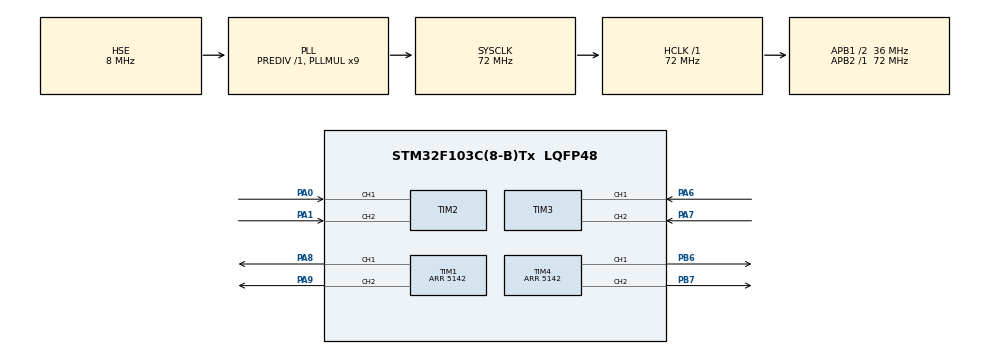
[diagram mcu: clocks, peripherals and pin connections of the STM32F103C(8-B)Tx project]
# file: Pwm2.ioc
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Mcu.Family=STM32F1
Mcu.Name=STM32F103C(8-B)Tx
Mcu.Package=LQFP48
NVIC.PriorityGroup=NVIC_PRIORITYGROUP_4
NVIC.TIM2_IRQn=true\:0\:0\:false\:false\:true\:true\:true\:true
NVIC.TIM3_IRQn=true\:0\:0\:false\:false\:true\:true\:true\:true
PA0-WKUP.Signal=S_TIM2_CH1_ETR
PA1.Signal=S_TIM2_CH2
PA6.Signal=S_TIM3_CH1
PA7.Signal=S_TIM3_CH2
PA8.Signal=S_TIM1_CH1
PA9.Signal=S_TIM1_CH2
PB6.Signal=S_TIM4_CH1
PB7.Signal=S_TIM4_CH2
PD0-OSC_IN.Mode=HSE-External-Clock-Source
PD0-OSC_IN.Signal=RCC_OSC_IN
PD1-OSC_OUT.Mode=HSE-External-Clock-Source
PD1-OSC_OUT.Signal=RCC_OSC_OUT
ProjectManager.HeapSize=0x200
ProjectManager.StackSize=0x400
ProjectManager.TargetToolchain=STM32CubeIDE
RCC.AHBFreq_Value=72000000
RCC.APB1CLKDivider=RCC_HCLK_DIV2
RCC.APB1Freq_Value=36000000
RCC.APB1TimFreq_Value=72000000
RCC.APB2Freq_Value=72000000
RCC.APB2TimFreq_Value=72000000
RCC.HCLKFreq_Value=72000000
RCC.PLLMUL=RCC_PLL_MUL9
RCC.PLLSourceVirtual=RCC_PLLSOURCE_HSE
RCC.SYSCLKFreq_VALUE=72000000
RCC.SYSCLKSource=RCC_SYSCLKSOURCE_PLLCLK
RCC.USBFreq_Value=72000000
SH.S_TIM1_CH1.0=TIM1_CH1,PWM Generation1 CH1
SH.S_TIM1_CH2.0=TIM1_CH2,PWM Generation2 CH2
SH.S_TIM2_CH1_ETR.0=TIM2_CH1,Encoder_Interface
SH.S_TIM2_CH2.0=TIM2_CH2,Encoder_Interface
SH.S_TIM3_CH1.0=TIM3_CH1,Encoder_Interface
SH.S_TIM3_CH2.0=TIM3_CH2,Encoder_Interface
SH.S_TIM4_CH1.0=TIM4_CH1,PWM Generation1 CH1
SH.S_TIM4_CH2.0=TIM4_CH2,PWM Generation2 CH2
TIM1.Channel-PWM\ Generation1\ CH1=TIM_CHANNEL_1
TIM1.Channel-PWM\ Generation2\ CH2=TIM_CHANNEL_2
TIM1.Period=5142
TIM2.EncoderMode=TIM_ENCODERMODE_TI12
TIM3.EncoderMode=TIM_ENCODERMODE_TI12
TIM4.Channel-PWM\ Generation1\ CH1=TIM_CHANNEL_1
TIM4.Channel-PWM\ Generation2\ CH2=TIM_CHANNEL_2
TIM4.Period=5142
VP_SYS_VS_ND.Mode=No_Debug
VP_TIM1_VS_ClockSourceINT.Mode=Internal
board=custom

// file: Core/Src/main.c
/* USER CODE BEGIN Header */
/**
  ******************************************************************************
  * @file           : main.c
  * @brief          : Main program body
  ******************************************************************************
  * @attention
  *
  * Copyright (c) 2024 STMicroelectronics.
  * All rights reserved.
  *
  * This software is licensed under terms that can be found in the LICENSE file
  * in the root directory of this software component.
  * If no LICENSE file comes with this software, it is provided AS-IS.
  *
  ******************************************************************************
  */
/* USER CODE END Header */
#include "main.h"
#include "tim.h"
#include "gpio.h"

/* USER CODE BEGIN Includes */
#include "error_state.h"
#include"std_types.h"
#include"map.h"
/* USER CODE END Includes */

/* USER CODE BEGIN PTD */
	typedef enum
	{
		Forward,
		Backward,
		Right,
		Left,
		Stop
	}Direction;
/* USER CODE END PTD */

/* USER CODE BEGIN PV */
	extern TIM_HandleTypeDef htim2;
	extern TIM_HandleTypeDef htim4;
	extern TIM_HandleTypeDef htim3;
	extern TIM_HandleTypeDef htim1;
	s32 __vo Glob_s32Encoder1TotalCount=0;
	s32 __vo Glob_s32Encoder2TotalCount=0;
	s32 __vo Glob_s32Motor1Speed=0;
	s32 __vo Glob_s32Motor2Speed=0;
	s32 __vo Glob_s32Encoder1LastPos=0;
	s32 __vo Glob_s32Encoder2LastPos=0;
/* USER CODE END PV */

void SystemClock_Config(void);
/* USER CODE BEGIN PFP */
ES_t enMotor_Move(Direction Copy_u8Direction,u8 speed)
	{
		ES_t Local_enErrState=ES_OK;
		speed=map(speed,0,100,0,5142);
		if(speed>5040)
		{
			speed=5040;
		}
		if(Forward==Copy_u8Direction)
		{
			__HAL_TIM_SET_COMPARE(&htim1, TIM_CHANNEL_1,speed);
			__HAL_TIM_SET_COMPARE(&htim4, TIM_CHANNEL_1,speed);
			HAL_TIM_PWM_Stop(&htim1, TIM_CHANNEL_2);
			HAL_TIM_PWM_Stop(&htim4, TIM_CHANNEL_2);
			HAL_TIM_PWM_Start(&htim1, TIM_CHANNEL_1);
			HAL_TIM_PWM_Start(&htim4, TIM_CHANNEL_1);
		}
		else if(Backward==Copy_u8Direction)
		{
			__HAL_TIM_SET_COMPARE(&htim1, TIM_CHANNEL_2,speed);
			__HAL_TIM_SET_COMPARE(&htim4, TIM_CHANNEL_2,speed);
			HAL_TIM_PWM_Stop(&htim1, TIM_CHANNEL_1);
			HAL_TIM_PWM_Stop(&htim4, TIM_CHANNEL_1);
			HAL_TIM_PWM_Start(&htim1, TIM_CHANNEL_2);
			HAL_TIM_PWM_Start(&htim4, TIM_CHANNEL_2);
		}
		else if(Right==Copy_u8Direction)
		{
			__HAL_TIM_SET_COMPARE(&htim4, TIM_CHANNEL_1,speed);
			__HAL_TIM_SET_COMPARE(&htim1, TIM_CHANNEL_2,speed);
			HAL_TIM_PWM_Stop(&htim1, TIM_CHANNEL_1);
			HAL_TIM_PWM_Stop(&htim4, TIM_CHANNEL_2);
			HAL_TIM_PWM_Start(&htim1, TIM_CHANNEL_2);
			HAL_TIM_PWM_Start(&htim4, TIM_CHANNEL_1);

		}
		else if(Left==Copy_u8Direction)
		{
			__HAL_TIM_SET_COMPARE(&htim4, TIM_CHANNEL_2,speed);
			__HAL_TIM_SET_COMPARE(&htim1, TIM_CHANNEL_1,speed);
			HAL_TIM_PWM_Stop(&htim1, TIM_CHANNEL_2);
			HAL_TIM_PWM_Stop(&htim4, TIM_CHANNEL_1);
			HAL_TIM_PWM_Start(&htim1, TIM_CHANNEL_1);
			HAL_TIM_PWM_Start(&htim4, TIM_CHANNEL_2);
		}
		else if(Stop==Copy_u8Direction)
		{
			HAL_TIM_PWM_Stop(&htim1, TIM_CHANNEL_1);
			HAL_TIM_PWM_Stop(&htim4, TIM_CHANNEL_1);
			HAL_TIM_PWM_Stop(&htim1, TIM_CHANNEL_2);
			HAL_TIM_PWM_Stop(&htim4, TIM_CHANNEL_2);
		}
		else
		{
			Local_enErrState=ES_NOT_OK;
		}
		return Local_enErrState;
	}

ES_t enGetMotorSpeed(s32* Ptr_s32Motor1Speed,s32* Ptr_s32Motor2Speed)
{
	*Ptr_s32Motor1Speed=Glob_s32Motor1Speed;
	*Ptr_s32Motor2Speed=Glob_s32Motor2Speed;
}

/* USER CODE END PFP */

int main(void)
{

  /* MCU Configuration--------------------------------------------------------*/

  /* Reset of all peripherals, Initializes the Flash interface and the Systick. */
  HAL_Init();

  /* Configure the system clock */
  SystemClock_Config();

  /* Initialize all configured peripherals */
  MX_GPIO_Init();
  MX_TIM1_Init();
  MX_TIM2_Init();
  MX_TIM3_Init();
  MX_TIM4_Init();
  /* USER CODE BEGIN 2 */
  HAL_TIM_Encoder_Start_IT(&htim2,TIM_CHANNEL_ALL);
  HAL_TIM_Encoder_Start_IT(&htim3,TIM_CHANNEL_ALL);
  /* USER CODE END 2 */

  /* Infinite loop */
  while (1)
  {

  }
}

void SystemClock_Config(void)
{
  RCC_OscInitTypeDef RCC_OscInitStruct = {0};
  RCC_ClkInitTypeDef RCC_ClkInitStruct = {0};

  /** Initializes the RCC Oscillators according to the specified parameters
  * in the RCC_OscInitTypeDef structure.
  */
  RCC_OscInitStruct.OscillatorType = RCC_OSCILLATORTYPE_HSE;
  RCC_OscInitStruct.HSEState = RCC_HSE_BYPASS;
  RCC_OscInitStruct.HSEPredivValue = RCC_HSE_PREDIV_DIV1;
  RCC_OscInitStruct.HSIState = RCC_HSI_ON;
  RCC_OscInitStruct.PLL.PLLState = RCC_PLL_ON;
  RCC_OscInitStruct.PLL.PLLSource = RCC_PLLSOURCE_HSE;
  RCC_OscInitStruct.PLL.PLLMUL = RCC_PLL_MUL9;
  if (HAL_RCC_OscConfig(&RCC_OscInitStruct) != HAL_OK)
  {
    Error_Handler();
  }

  /** Initializes the CPU, AHB and APB buses clocks
  */
  RCC_ClkInitStruct.ClockType = RCC_CLOCKTYPE_HCLK|RCC_CLOCKTYPE_SYSCLK
                              |RCC_CLOCKTYPE_PCLK1|RCC_CLOCKTYPE_PCLK2;
  RCC_ClkInitStruct.SYSCLKSource = RCC_SYSCLKSOURCE_PLLCLK;
  RCC_ClkInitStruct.AHBCLKDivider = RCC_SYSCLK_DIV1;
  RCC_ClkInitStruct.APB1CLKDivider = RCC_HCLK_DIV2;
  RCC_ClkInitStruct.APB2CLKDivider = RCC_HCLK_DIV1;

  if (HAL_RCC_ClockConfig(&RCC_ClkInitStruct, FLASH_LATENCY_2) != HAL_OK)
  {
    Error_Handler();
  }
}

void Error_Handler(void)
{
  __disable_irq();
  while (1)
  {
  }
}
